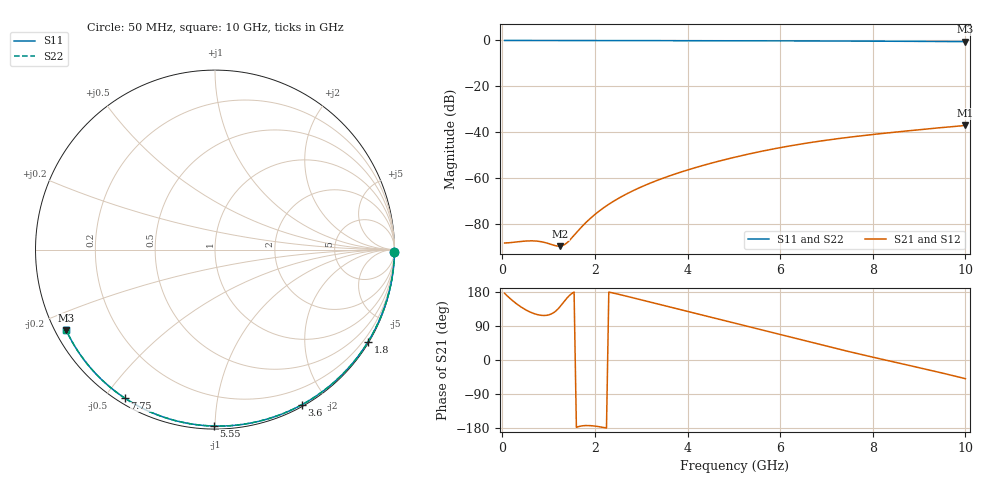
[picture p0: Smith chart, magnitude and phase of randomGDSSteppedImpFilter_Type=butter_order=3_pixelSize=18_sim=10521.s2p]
! freq	dB(S11)	phase(S11)	dB(S12)	phase(S12)
!  dB(S21)	phase(S21)	dB(S22)	phase(S22)
!S-par simulation data
#  GHz  S  DB  R 50
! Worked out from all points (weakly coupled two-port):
!   200 points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, 50 MHz to 10 GHz, reference 50 ohm
!   highest |S21| = -37.06 dB at 10 GHz (marker M1); lowest = -89.7 dB at 1.25 GHz (marker M2)
!   lowest |S11| = -0.5 dB at 10 GHz (marker M3), VSWR 33.95, Z = 1.57 - j12.6 ohm
!   |S11| at or under -10 dB: nowhere
!   |S22| runs from -0.5 to 0.0 dB; largest |S21 - S12| = 0
!   S11 on the Smith chart (normalised r, x): 50 MHz: open; 1.8 GHz: 0.03, -3.58; 3.6 GHz: 0.02, -1.70; 5.55 GHz: 0.02, -0.99; 7.75 GHz: 0.02, -0.56; 10 GHz: 0.03, -0.25
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0.05  -0.00 -0.9  -88.27 176.2  -88.27 176.2  -0.00 -0.9
0.65  -0.01 -11.4  -87.33 124.1  -87.33 124.1  -0.01 -11.4
1.25  -0.03 -21.8  -89.65 141.2  -89.65 141.2  -0.03 -21.8
1.75  -0.04 -30.4  -80.48 -173.4  -80.48 -173.4  -0.04 -30.4
1.8  -0.04 -31.2  -79.46 -173.0  -79.46 -173.0  -0.04 -31.2
1.95  -0.04 -33.7  -76.68 -173.7  -76.68 -173.7  -0.04 -33.7
2.1  -0.05 -36.3  -74.23 -176.1  -74.23 -176.1  -0.05 -36.3
2.25  -0.05 -38.8  -72.06 -179.5  -72.06 -179.5  -0.05 -38.8
2.45  -0.05 -42.1  -69.50 175.2  -69.50 175.2  -0.05 -42.1
2.65  -0.06 -45.4  -67.24 169.4  -67.24 169.4  -0.06 -45.4
2.9  -0.06 -49.5  -64.75 161.8  -64.75 161.8  -0.06 -49.5
3.4  -0.08 -57.6  -60.55 146.3  -60.55 146.3  -0.08 -57.6
3.6  -0.08 -60.8  -59.09 140.2  -59.09 140.2  -0.08 -60.8
4.3  -0.10 -71.7  -54.66 118.9  -54.66 118.9  -0.10 -71.7
5.05  -0.13 -83.1  -50.74 96.1  -50.74 96.1  -0.13 -83.1
5.55  -0.15 -90.4  -48.50 80.8  -48.50 80.8  -0.15 -90.4
6.1  -0.17 -98.3  -46.35 63.9  -46.35 63.9  -0.17 -98.4
6.7  -0.21 -106.8  -44.34 45.6  -44.34 45.6  -0.21 -106.8
7.75  -0.28 -121.3  -41.56 14.6  -41.56 14.6  -0.28 -121.3
8.35  -0.33 -129.4  -40.23 -2.3  -40.23 -2.3  -0.33 -129.4
9.2  -0.42 -140.8  -38.52 -25.9  -38.52 -25.9  -0.42 -140.8
10  -0.51 -151.7  -37.06 -49.3  -37.06 -49.3  -0.51 -151.7
